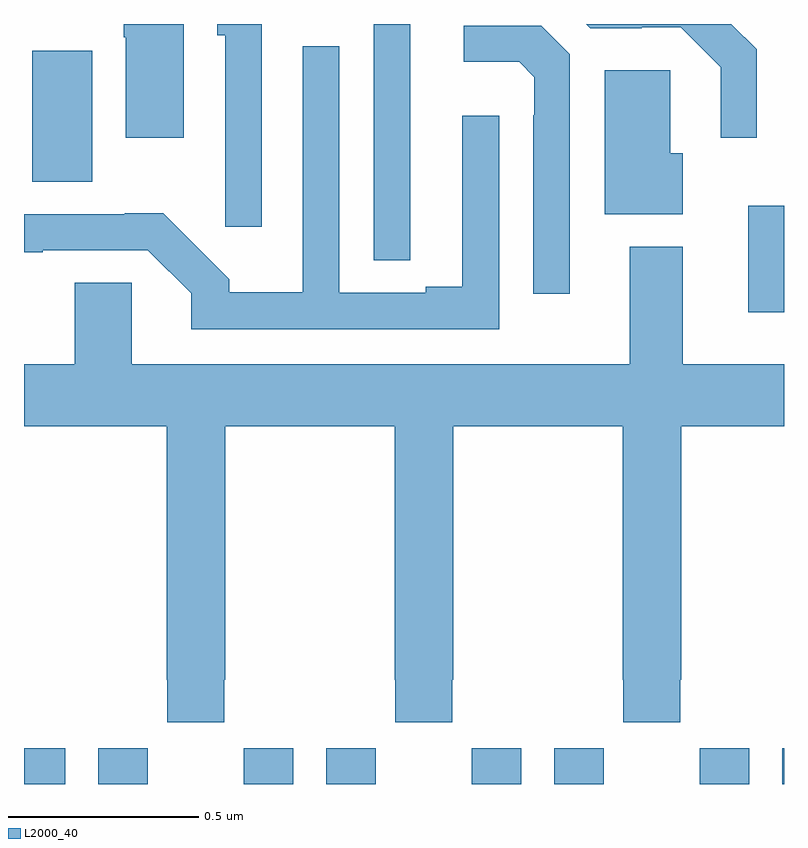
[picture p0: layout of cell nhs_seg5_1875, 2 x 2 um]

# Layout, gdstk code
import gdstk
lib = gdstk.Library(unit=1e-6, precision=1e-09)
def R(c, l, rs):  # rectangles x0, y0, x1, y1
    for r in rs: c.add(gdstk.rectangle(r[:2], r[2:], *l))
def P(c, l, *ps):  # polygons
    for p in ps: c.add(gdstk.Polygon(p, *l))
L2000_40 = (2000, 40)

nhs_seg5_1875 = lib.new_cell('nhs_seg5_1875')
R(nhs_seg5_1875, L2000_40, [(136,875.799,136.108,875.893), (136.196,875.799,136.326,875.893), (136.578,875.799,136.708,875.893), (136.796,875.799,136.926,875.893), (137.178,875.799,137.308,875.893), (137.396,875.799,137.526,875.893), (137.778,875.799,137.908,875.893), (137.996,875.799,138,875.893), (137.906,877.04,138,877.321), (136.022,877.384,136.18,877.729)])
P(nhs_seg5_1875, L2000_40, [(137.016,877.285),(137.017,877.285),(137.017,877.799),(136.92,877.799),(136.92,877.177),(137.016,877.177)],
  [(136.42,877.799),(136.262,877.799),(136.262,877.764),(136.268,877.764),(136.268,877.5),(136.42,877.5)],
  [(136.626,877.799),(136.508,877.799),(136.508,877.77),(136.53,877.77),(136.53,877.266),(136.626,877.266)],
  [(137.928,877.732),(137.861,877.799),(137.479,877.799),(137.49,877.788),(137.626,877.788),(137.626,877.79),(137.728,877.79),(137.834,877.685),(137.834,877.5),(137.928,877.5)],
  [(137.436,877.719),(137.361,877.794),(137.157,877.794),(137.157,877.7),(137.303,877.7),(137.343,877.659),(137.343,877.559),(137.34,877.559),(137.34,877.089),(137.436,877.089)],
  [(137.25,877.558),(137.153,877.558),(137.153,877.107),(137.057,877.107),(137.057,877.092),(136.83,877.092),(136.83,877.741),(136.734,877.741),(136.734,877.093),(136.54,877.093),(136.54,877.127),(136.366,877.301),(136.265,877.301),(136.265,877.299),(136,877.299),(136,877.198),(136.049,877.198),(136.049,877.203),(136.326,877.203),(136.44,877.09),(136.44,876.996),(137.25,876.996)],
  [(137.734,877.459),(137.701,877.459),(137.701,877.677),(137.528,877.677),(137.528,877.298),(137.734,877.298)],
  [(136.284,877.118),(136.133,877.118),(136.133,876.904),(136,876.904),(136,876.74),(136.375,876.74),(136.375,876.073),(136.377,876.073),(136.377,875.961),(136.527,875.961),(136.527,876.073),(136.53,876.073),(136.53,876.74),(136.975,876.74),(136.975,876.073),(136.977,876.073),(136.977,875.961),(137.127,875.961),(137.127,876.073),(137.13,876.073),(137.13,876.74),(137.575,876.74),(137.575,876.073),(137.577,876.073),(137.577,875.961),(137.727,875.961),(137.727,876.073),(137.73,876.073),(137.73,876.74),(138,876.74),(138,876.904),(137.734,876.904),(137.734,877.213),(137.594,877.213),(137.594,876.904),(136.284,876.904)])

lib.write_gds('nhs_seg5_1875.gds')
